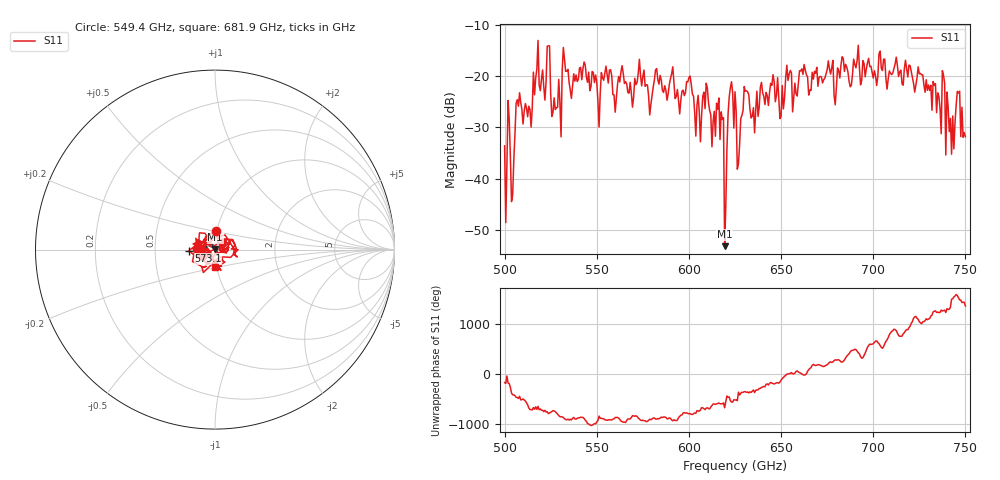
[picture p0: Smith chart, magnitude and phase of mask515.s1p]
!Created with skrf (http://scikit-rf.org).
# GHz S MA R 50.0
!freq magS11 angS11
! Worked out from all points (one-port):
!   401 points, 500 GHz to 750 GHz, reference 50 ohm
!   lowest |S11| = -53.2 dB at 619.4 GHz (marker M1), VSWR 1.00, Z = 50.1 + j0.166 ohm
!   |S11| at or under -10 dB: start of sweep to end of sweep
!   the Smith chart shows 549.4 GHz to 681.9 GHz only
!   S11 on the Smith chart (normalised r, x): 549.4 GHz: 0.99, +0.21; 573.1 GHz: 0.74, -0.01; 681.9 GHz: 0.98, -0.19
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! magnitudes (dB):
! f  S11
! 500 GHz  -33.6
! 504.4 GHz  -43.2
! 507.5 GHz  -25.8
! 513.8 GHz  -26.4
! 516.9 GHz  -20.3
! 523.8 GHz  -14.0
! 526.9 GHz  -24.2
! 531.2 GHz  -18.8
! 549.4 GHz  -19.7
! 562.5 GHz  -21.1
! 573.1 GHz  -16.7
! 593.8 GHz  -22.6
! 616.2 GHz  -24.2
! 619.4 GHz  -53.2
! 620.6 GHz  -34.2
! 622.5 GHz  -22.2
! 625 GHz  -23.0
! 627.5 GHz  -33.4
! 631.2 GHz  -22.8
! 635 GHz  -26.1
! 656.2 GHz  -26.9
! 681.9 GHz  -20.3
! 687.5 GHz  -22.0
! 718.8 GHz  -20.1
! 738.8 GHz  -21.4
! 742.5 GHz  -35.2
! 745.6 GHz  -22.9
! 750 GHz  -31.8
